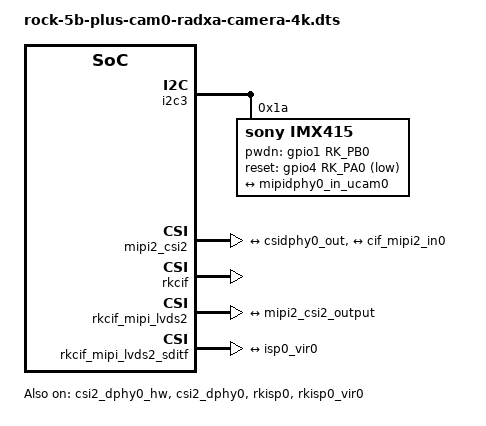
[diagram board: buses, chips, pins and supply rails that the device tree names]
/dts-v1/;
/plugin/;

#include <dt-bindings/clock/rk3588-cru.h>
#include <dt-bindings/power/rk3588-power.h>
#include <dt-bindings/gpio/gpio.h>
#include <dt-bindings/pinctrl/rockchip.h>

/ {
	metadata {
		title ="Enable Radxa Camera 4K on CAM0";
		compatible = "radxa,rock-5b-plus";
		category = "camera";
		exclusive = "csi2_dphy0";
		description = "Enable Radxa Camera 4K on CAM0.";
	};
};

&i2c3 {
	status = "okay";
	#address-cells = <1>;
	#size-cells = <0>;

	imx415: imx415@1a {
		status = "okay";
		compatible = "sony,imx415";
		reg = <0x1a>;
		clocks = <&cru CLK_MIPI_CAMARAOUT_M3>;
		clock-names = "xvclk";
		pinctrl-names = "default";
		pinctrl-0 = <&mipim0_camera3_clk>;
		power-domains = <&power RK3588_PD_VI>;
		pwdn-gpios = <&gpio1 RK_PB0 GPIO_ACTIVE_HIGH>;
		reset-gpios = <&gpio4 RK_PA0 GPIO_ACTIVE_LOW>;
		rockchip,camera-module-index = <0>;
		rockchip,camera-module-facing = "front";
		rockchip,camera-module-name = "RADXA-CAMERA-4K";
		rockchip,camera-module-lens-name = "DEFAULT";
		port {
			imx415_out0: endpoint {
				remote-endpoint = <&mipidphy0_in_ucam0>;
				data-lanes = <1 2 3 4>;
			};
		};
	};
};

&csi2_dphy0_hw {
	status = "okay";
};

&csi2_dphy0 {
	status = "okay";

	ports {
		#address-cells = <1>;
		#size-cells = <0>;

		port@0 {
			reg = <0>;
			#address-cells = <1>;
			#size-cells = <0>;

			mipidphy0_in_ucam0: endpoint@1 {
				reg = <1>;
				remote-endpoint = <&imx415_out0>;
				data-lanes = <1 2 3 4>;
			};
		};

		port@1 {
			reg = <1>;
			#address-cells = <1>;
			#size-cells = <0>;

			csidphy0_out: endpoint@0 {
				reg = <0>;
				remote-endpoint = <&mipi2_csi2_input>;
			};
		};
	};
};

&mipi2_csi2 {
	status = "okay";

	ports {
		#address-cells = <1>;
		#size-cells = <0>;

		port@0 {
			reg = <0>;
			#address-cells = <1>;
			#size-cells = <0>;

			mipi2_csi2_input: endpoint@1 {
				reg = <1>;
				remote-endpoint = <&csidphy0_out>;
			};
		};

		port@1 {
			reg = <1>;
			#address-cells = <1>;
			#size-cells = <0>;

			mipi2_csi2_output: endpoint@0 {
				reg = <0>;
				remote-endpoint = <&cif_mipi2_in0>;
			};
		};
	};
};

&rkcif {
	status = "okay";
};

&rkcif_mipi_lvds2 {
	status = "okay";

	port {
		cif_mipi2_in0: endpoint {
			remote-endpoint = <&mipi2_csi2_output>;
		};
	};
};

&rkcif_mipi_lvds2_sditf {
	status = "okay";

	port {
		mipi_lvds2_sditf: endpoint {
			remote-endpoint = <&isp0_vir0>;
		};
	};
};

&rkcif_mmu {
	status = "okay";
};

&isp0_mmu {
	status = "okay";
};

&rkisp0 {
	status = "okay";
};

&rkisp0_vir0 {
	status = "okay";

	port {
		#address-cells = <1>;
		#size-cells = <0>;

		isp0_vir0: endpoint@0 {
			reg = <0>;
			remote-endpoint = <&mipi_lvds2_sditf>;
		};
	};
};
